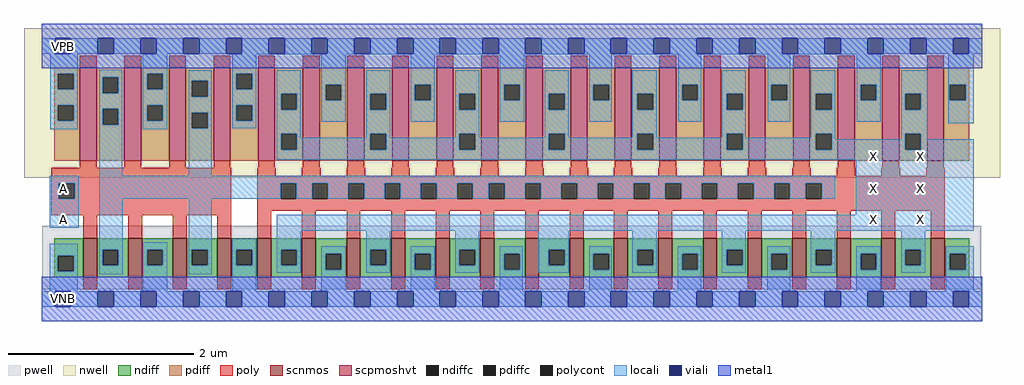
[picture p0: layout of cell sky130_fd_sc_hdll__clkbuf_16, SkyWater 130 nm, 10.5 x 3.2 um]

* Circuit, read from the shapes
.subckt sky130_fd_sc_hdll__clkbuf_16 A VGND VNB VPB VPWR X
XM1 n1 A VGND VNB sky130_fd_pr__nfet_01v8 w=0.42 l=0.15 m=4
XM2 X n1 VGND VNB sky130_fd_pr__nfet_01v8 w=0.42 l=0.15 m=16
XM3 n1 A VPWR VPB sky130_fd_pr__pfet_01v8_hvt w=1 l=0.18 m=4
XM4 X n1 VPWR VPB sky130_fd_pr__pfet_01v8_hvt w=1 l=0.18 m=16
.ends

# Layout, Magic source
magic
tech sky130A
magscale 1 2
<< nwell >>
rect -38 261 2062 582
<< pwell >>
rect 1 21 2022 157
rect 29 -17 63 21
<< scnmos >>
rect 90 47 120 131
rect 186 47 216 131
rect 282 47 312 131
rect 378 47 408 131
rect 464 47 494 131
rect 560 47 590 131
rect 656 47 686 131
rect 752 47 782 131
rect 848 47 878 131
rect 944 47 974 131
rect 1040 47 1070 131
rect 1136 47 1166 131
rect 1231 47 1261 131
rect 1327 47 1357 131
rect 1423 47 1453 131
rect 1519 47 1549 131
rect 1615 47 1645 131
rect 1711 47 1741 131
rect 1807 47 1837 131
rect 1913 47 1943 131
<< scpmoshvt >>
rect 82 297 118 497
rect 178 297 214 497
rect 274 297 310 497
rect 370 297 406 497
rect 466 297 502 497
rect 562 297 598 497
rect 658 297 694 497
rect 754 297 790 497
rect 850 297 886 497
rect 946 297 982 497
rect 1042 297 1078 497
rect 1138 297 1174 497
rect 1233 297 1269 497
rect 1329 297 1365 497
rect 1425 297 1461 497
rect 1521 297 1557 497
rect 1617 297 1653 497
rect 1713 297 1749 497
rect 1809 297 1845 497
rect 1905 297 1941 497
<< ndiff >>
rect 27 93 90 131
rect 27 59 35 93
rect 69 59 90 93
rect 27 47 90 59
rect 120 106 186 131
rect 120 72 131 106
rect 165 72 186 106
rect 120 47 186 72
rect 216 106 282 131
rect 216 72 227 106
rect 261 72 282 106
rect 216 47 282 72
rect 312 106 378 131
rect 312 72 323 106
rect 357 72 378 106
rect 312 47 378 72
rect 408 106 464 131
rect 408 72 419 106
rect 453 72 464 106
rect 408 47 464 72
rect 494 106 560 131
rect 494 72 515 106
rect 549 72 560 106
rect 494 47 560 72
rect 590 97 656 131
rect 590 63 611 97
rect 645 63 656 97
rect 590 47 656 63
rect 686 106 752 131
rect 686 72 707 106
rect 741 72 752 106
rect 686 47 752 72
rect 782 97 848 131
rect 782 63 803 97
rect 837 63 848 97
rect 782 47 848 63
rect 878 106 944 131
rect 878 72 899 106
rect 933 72 944 106
rect 878 47 944 72
rect 974 97 1040 131
rect 974 63 995 97
rect 1029 63 1040 97
rect 974 47 1040 63
rect 1070 106 1136 131
rect 1070 72 1091 106
rect 1125 72 1136 106
rect 1070 47 1136 72
rect 1166 97 1231 131
rect 1166 63 1187 97
rect 1221 63 1231 97
rect 1166 47 1231 63
rect 1261 106 1327 131
rect 1261 72 1282 106
rect 1316 72 1327 106
rect 1261 47 1327 72
rect 1357 97 1423 131
rect 1357 63 1378 97
rect 1412 63 1423 97
rect 1357 47 1423 63
rect 1453 106 1519 131
rect 1453 72 1474 106
rect 1508 72 1519 106
rect 1453 47 1519 72
rect 1549 97 1615 131
rect 1549 63 1570 97
rect 1604 63 1615 97
rect 1549 47 1615 63
rect 1645 106 1711 131
rect 1645 72 1666 106
rect 1700 72 1711 106
rect 1645 47 1711 72
rect 1741 97 1807 131
rect 1741 63 1762 97
rect 1796 63 1807 97
rect 1741 47 1807 63
rect 1837 106 1913 131
rect 1837 72 1858 106
rect 1892 72 1913 106
rect 1837 47 1913 72
rect 1943 97 1996 131
rect 1943 63 1954 97
rect 1988 63 1996 97
rect 1943 47 1996 63
<< pdiff >>
rect 27 485 82 497
rect 27 451 35 485
rect 69 451 82 485
rect 27 417 82 451
rect 27 383 35 417
rect 69 383 82 417
rect 27 297 82 383
rect 118 477 178 497
rect 118 443 131 477
rect 165 443 178 477
rect 118 409 178 443
rect 118 375 131 409
rect 165 375 178 409
rect 118 297 178 375
rect 214 485 274 497
rect 214 451 227 485
rect 261 451 274 485
rect 214 417 274 451
rect 214 383 227 417
rect 261 383 274 417
rect 214 297 274 383
rect 310 469 370 497
rect 310 435 323 469
rect 357 435 370 469
rect 310 401 370 435
rect 310 367 323 401
rect 357 367 370 401
rect 310 297 370 367
rect 406 485 466 497
rect 406 451 419 485
rect 453 451 466 485
rect 406 417 466 451
rect 406 383 419 417
rect 453 383 466 417
rect 406 297 466 383
rect 502 441 562 497
rect 502 407 515 441
rect 549 407 562 441
rect 502 355 562 407
rect 502 321 515 355
rect 549 321 562 355
rect 502 297 562 321
rect 598 461 658 497
rect 598 427 611 461
rect 645 427 658 461
rect 598 297 658 427
rect 694 441 754 497
rect 694 407 707 441
rect 741 407 754 441
rect 694 355 754 407
rect 694 321 707 355
rect 741 321 754 355
rect 694 297 754 321
rect 790 461 850 497
rect 790 427 803 461
rect 837 427 850 461
rect 790 297 850 427
rect 886 441 946 497
rect 886 407 899 441
rect 933 407 946 441
rect 886 355 946 407
rect 886 321 899 355
rect 933 321 946 355
rect 886 297 946 321
rect 982 461 1042 497
rect 982 427 995 461
rect 1029 427 1042 461
rect 982 297 1042 427
rect 1078 441 1138 497
rect 1078 407 1091 441
rect 1125 407 1138 441
rect 1078 355 1138 407
rect 1078 321 1091 355
rect 1125 321 1138 355
rect 1078 297 1138 321
rect 1174 461 1233 497
rect 1174 427 1187 461
rect 1221 427 1233 461
rect 1174 297 1233 427
rect 1269 441 1329 497
rect 1269 407 1282 441
rect 1316 407 1329 441
rect 1269 355 1329 407
rect 1269 321 1282 355
rect 1316 321 1329 355
rect 1269 297 1329 321
rect 1365 461 1425 497
rect 1365 427 1378 461
rect 1412 427 1425 461
rect 1365 297 1425 427
rect 1461 441 1521 497
rect 1461 407 1474 441
rect 1508 407 1521 441
rect 1461 355 1521 407
rect 1461 321 1474 355
rect 1508 321 1521 355
rect 1461 297 1521 321
rect 1557 461 1617 497
rect 1557 427 1570 461
rect 1604 427 1617 461
rect 1557 297 1617 427
rect 1653 441 1713 497
rect 1653 407 1666 441
rect 1700 407 1713 441
rect 1653 355 1713 407
rect 1653 321 1666 355
rect 1700 321 1713 355
rect 1653 297 1713 321
rect 1749 461 1809 497
rect 1749 427 1762 461
rect 1796 427 1809 461
rect 1749 297 1809 427
rect 1845 441 1905 497
rect 1845 407 1858 441
rect 1892 407 1905 441
rect 1845 355 1905 407
rect 1845 321 1858 355
rect 1892 321 1905 355
rect 1845 297 1905 321
rect 1941 461 1996 497
rect 1941 427 1954 461
rect 1988 427 1996 461
rect 1941 297 1996 427
<< ndiffc >>
rect 35 59 69 93
rect 131 72 165 106
rect 227 72 261 106
rect 323 72 357 106
rect 419 72 453 106
rect 515 72 549 106
rect 611 63 645 97
rect 707 72 741 106
rect 803 63 837 97
rect 899 72 933 106
rect 995 63 1029 97
rect 1091 72 1125 106
rect 1187 63 1221 97
rect 1282 72 1316 106
rect 1378 63 1412 97
rect 1474 72 1508 106
rect 1570 63 1604 97
rect 1666 72 1700 106
rect 1762 63 1796 97
rect 1858 72 1892 106
rect 1954 63 1988 97
<< pdiffc >>
rect 35 451 69 485
rect 35 383 69 417
rect 131 443 165 477
rect 131 375 165 409
rect 227 451 261 485
rect 227 383 261 417
rect 323 435 357 469
rect 323 367 357 401
rect 419 451 453 485
rect 419 383 453 417
rect 515 407 549 441
rect 515 321 549 355
rect 611 427 645 461
rect 707 407 741 441
rect 707 321 741 355
rect 803 427 837 461
rect 899 407 933 441
rect 899 321 933 355
rect 995 427 1029 461
rect 1091 407 1125 441
rect 1091 321 1125 355
rect 1187 427 1221 461
rect 1282 407 1316 441
rect 1282 321 1316 355
rect 1378 427 1412 461
rect 1474 407 1508 441
rect 1474 321 1508 355
rect 1570 427 1604 461
rect 1666 407 1700 441
rect 1666 321 1700 355
rect 1762 427 1796 461
rect 1858 407 1892 441
rect 1858 321 1892 355
rect 1954 427 1988 461
<< poly >>
rect 82 497 118 523
rect 178 497 214 523
rect 274 497 310 523
rect 370 497 406 523
rect 466 497 502 523
rect 562 497 598 523
rect 658 497 694 523
rect 754 497 790 523
rect 850 497 886 523
rect 946 497 982 523
rect 1042 497 1078 523
rect 1138 497 1174 523
rect 1233 497 1269 523
rect 1329 497 1365 523
rect 1425 497 1461 523
rect 1521 497 1557 523
rect 1617 497 1653 523
rect 1713 497 1749 523
rect 1809 497 1845 523
rect 1905 497 1941 523
rect 82 282 118 297
rect 178 282 214 297
rect 274 282 310 297
rect 370 282 406 297
rect 466 282 502 297
rect 562 282 598 297
rect 658 282 694 297
rect 754 282 790 297
rect 850 282 886 297
rect 946 282 982 297
rect 1042 282 1078 297
rect 1138 282 1174 297
rect 1233 282 1269 297
rect 1329 282 1365 297
rect 1425 282 1461 297
rect 1521 282 1557 297
rect 1617 282 1653 297
rect 1713 282 1749 297
rect 1809 282 1845 297
rect 1905 282 1941 297
rect 21 249 408 282
rect 21 215 37 249
rect 71 215 408 249
rect 21 180 408 215
rect 90 131 120 180
rect 186 131 216 180
rect 282 131 312 180
rect 378 131 408 180
rect 464 265 504 282
rect 560 265 600 282
rect 656 265 696 282
rect 752 265 792 282
rect 848 265 888 282
rect 944 265 984 282
rect 1040 265 1080 282
rect 1136 265 1176 282
rect 1231 265 1271 282
rect 1327 265 1367 282
rect 1423 265 1463 282
rect 1519 265 1559 282
rect 1615 265 1655 282
rect 1711 265 1751 282
rect 1807 265 1847 282
rect 1903 265 1943 282
rect 464 249 1943 265
rect 464 215 514 249
rect 548 215 582 249
rect 616 215 660 249
rect 694 215 738 249
rect 772 215 816 249
rect 850 215 894 249
rect 928 215 962 249
rect 996 215 1040 249
rect 1074 215 1118 249
rect 1152 215 1196 249
rect 1230 215 1274 249
rect 1308 215 1342 249
rect 1376 215 1420 249
rect 1454 215 1498 249
rect 1532 215 1576 249
rect 1610 215 1644 249
rect 1678 215 1943 249
rect 464 190 1943 215
rect 464 131 494 190
rect 560 131 590 190
rect 656 131 686 190
rect 752 131 782 190
rect 848 131 878 190
rect 944 131 974 190
rect 1040 131 1070 190
rect 1136 131 1166 190
rect 1231 131 1261 190
rect 1327 131 1357 190
rect 1423 131 1453 190
rect 1519 131 1549 190
rect 1615 131 1645 190
rect 1711 131 1741 190
rect 1807 131 1837 190
rect 1913 131 1943 190
rect 90 21 120 47
rect 186 21 216 47
rect 282 21 312 47
rect 378 21 408 47
rect 464 21 494 47
rect 560 21 590 47
rect 656 21 686 47
rect 752 21 782 47
rect 848 21 878 47
rect 944 21 974 47
rect 1040 21 1070 47
rect 1136 21 1166 47
rect 1231 21 1261 47
rect 1327 21 1357 47
rect 1423 21 1453 47
rect 1519 21 1549 47
rect 1615 21 1645 47
rect 1711 21 1741 47
rect 1807 21 1837 47
rect 1913 21 1943 47
<< polycont >>
rect 37 215 71 249
rect 514 215 548 249
rect 582 215 616 249
rect 660 215 694 249
rect 738 215 772 249
rect 816 215 850 249
rect 894 215 928 249
rect 962 215 996 249
rect 1040 215 1074 249
rect 1118 215 1152 249
rect 1196 215 1230 249
rect 1274 215 1308 249
rect 1342 215 1376 249
rect 1420 215 1454 249
rect 1498 215 1532 249
rect 1576 215 1610 249
rect 1644 215 1678 249
<< locali >>
rect 0 527 29 561
rect 63 527 121 561
rect 155 527 213 561
rect 247 527 305 561
rect 339 527 397 561
rect 431 527 489 561
rect 523 527 581 561
rect 615 527 673 561
rect 707 527 765 561
rect 799 527 857 561
rect 891 527 949 561
rect 983 527 1041 561
rect 1075 527 1133 561
rect 1167 527 1225 561
rect 1259 527 1317 561
rect 1351 527 1409 561
rect 1443 527 1501 561
rect 1535 527 1593 561
rect 1627 527 1685 561
rect 1719 527 1777 561
rect 1811 527 1869 561
rect 1903 527 1961 561
rect 1995 527 2024 561
rect 19 485 78 527
rect 19 451 35 485
rect 69 451 78 485
rect 19 417 78 451
rect 19 383 35 417
rect 69 383 78 417
rect 19 365 78 383
rect 124 477 173 493
rect 124 443 131 477
rect 165 443 173 477
rect 124 409 173 443
rect 124 375 131 409
rect 165 375 173 409
rect 124 265 173 375
rect 218 485 270 527
rect 410 526 1805 527
rect 218 451 227 485
rect 261 451 270 485
rect 218 417 270 451
rect 218 383 227 417
rect 261 383 270 417
rect 218 365 270 383
rect 316 469 366 492
rect 316 435 323 469
rect 357 435 366 469
rect 316 401 366 435
rect 316 367 323 401
rect 357 367 366 401
rect 410 485 462 526
rect 410 451 419 485
rect 453 451 462 485
rect 410 417 462 451
rect 410 383 419 417
rect 453 383 462 417
rect 410 367 462 383
rect 506 441 558 492
rect 506 407 515 441
rect 549 407 558 441
rect 316 265 366 367
rect 506 355 558 407
rect 602 461 654 526
rect 602 427 611 461
rect 645 427 654 461
rect 602 381 654 427
rect 698 441 750 492
rect 698 407 707 441
rect 741 407 750 441
rect 506 321 515 355
rect 549 347 558 355
rect 698 355 750 407
rect 794 461 846 526
rect 794 427 803 461
rect 837 427 846 461
rect 794 381 846 427
rect 890 441 942 492
rect 890 407 899 441
rect 933 407 942 441
rect 698 347 707 355
rect 549 321 707 347
rect 741 347 750 355
rect 890 355 942 407
rect 986 461 1038 526
rect 986 427 995 461
rect 1029 427 1038 461
rect 986 381 1038 427
rect 1082 441 1134 492
rect 1082 407 1091 441
rect 1125 407 1134 441
rect 890 347 899 355
rect 741 321 899 347
rect 933 347 942 355
rect 1082 355 1134 407
rect 1178 461 1227 526
rect 1178 427 1187 461
rect 1221 427 1227 461
rect 1178 381 1227 427
rect 1271 441 1323 492
rect 1271 407 1282 441
rect 1316 407 1323 441
rect 1082 347 1091 355
rect 933 321 1091 347
rect 1125 347 1134 355
rect 1271 355 1323 407
rect 1370 461 1419 526
rect 1370 427 1378 461
rect 1412 427 1419 461
rect 1370 381 1419 427
rect 1463 441 1515 492
rect 1463 407 1474 441
rect 1508 407 1515 441
rect 1271 347 1282 355
rect 1125 321 1282 347
rect 1316 347 1323 355
rect 1463 355 1515 407
rect 1562 461 1611 526
rect 1562 427 1570 461
rect 1604 427 1611 461
rect 1562 381 1611 427
rect 1655 441 1707 492
rect 1655 407 1666 441
rect 1700 407 1707 441
rect 1463 347 1474 355
rect 1316 321 1474 347
rect 1508 347 1515 355
rect 1655 355 1707 407
rect 1754 461 1805 526
rect 1754 427 1762 461
rect 1796 427 1805 461
rect 1754 381 1805 427
rect 1849 441 1907 492
rect 1849 407 1858 441
rect 1892 407 1907 441
rect 1655 347 1666 355
rect 1508 321 1666 347
rect 1700 344 1707 355
rect 1849 355 1907 407
rect 1951 461 2005 527
rect 1951 427 1954 461
rect 1988 427 2005 461
rect 1951 378 2005 427
rect 1849 344 1858 355
rect 1700 321 1858 344
rect 1892 344 1907 355
rect 1892 321 2005 344
rect 506 299 2005 321
rect 17 249 80 265
rect 17 215 37 249
rect 71 215 80 249
rect 17 153 80 215
rect 124 249 1708 265
rect 124 215 514 249
rect 548 215 582 249
rect 616 215 660 249
rect 694 215 738 249
rect 772 215 816 249
rect 850 215 894 249
rect 928 215 962 249
rect 996 215 1040 249
rect 1074 215 1118 249
rect 1152 215 1196 249
rect 1230 215 1274 249
rect 1308 215 1342 249
rect 1376 215 1420 249
rect 1454 215 1498 249
rect 1532 215 1576 249
rect 1610 215 1644 249
rect 1678 215 1708 249
rect 17 93 78 119
rect 17 59 35 93
rect 69 59 78 93
rect 17 17 78 59
rect 124 106 174 215
rect 124 72 131 106
rect 165 72 174 106
rect 124 53 174 72
rect 218 106 270 122
rect 218 72 227 106
rect 261 72 270 106
rect 218 17 270 72
rect 316 106 366 215
rect 1752 181 2005 299
rect 506 147 2005 181
rect 316 72 323 106
rect 357 72 366 106
rect 316 53 366 72
rect 410 106 462 129
rect 410 72 419 106
rect 453 72 462 106
rect 410 17 462 72
rect 506 106 558 147
rect 506 72 515 106
rect 549 72 558 106
rect 506 56 558 72
rect 602 97 654 113
rect 602 63 611 97
rect 645 63 654 97
rect 602 17 654 63
rect 698 106 750 147
rect 698 72 707 106
rect 741 72 750 106
rect 698 56 750 72
rect 794 97 846 113
rect 794 63 803 97
rect 837 63 846 97
rect 794 17 846 63
rect 890 106 942 147
rect 890 72 899 106
rect 933 72 942 106
rect 890 56 942 72
rect 986 97 1035 113
rect 986 63 995 97
rect 1029 63 1035 97
rect 986 17 1035 63
rect 1069 106 1134 147
rect 1069 72 1091 106
rect 1125 72 1134 106
rect 1069 56 1134 72
rect 1178 97 1227 113
rect 1178 63 1187 97
rect 1221 63 1227 97
rect 1178 17 1227 63
rect 1271 106 1323 147
rect 1271 72 1282 106
rect 1316 72 1323 106
rect 1271 56 1323 72
rect 1369 97 1419 113
rect 1369 63 1378 97
rect 1412 63 1419 97
rect 1369 17 1419 63
rect 1463 106 1515 147
rect 1463 72 1474 106
rect 1508 72 1515 106
rect 1463 56 1515 72
rect 1561 97 1611 113
rect 1561 63 1570 97
rect 1604 63 1611 97
rect 1561 17 1611 63
rect 1655 106 1707 147
rect 1655 72 1666 106
rect 1700 72 1707 106
rect 1655 56 1707 72
rect 1753 97 1805 113
rect 1753 63 1762 97
rect 1796 63 1805 97
rect 1753 17 1805 63
rect 1849 106 1901 147
rect 1849 72 1858 106
rect 1892 72 1901 106
rect 1849 56 1901 72
rect 1945 97 2005 113
rect 1945 63 1954 97
rect 1988 63 2005 97
rect 1945 17 2005 63
rect 0 -17 29 17
rect 63 -17 121 17
rect 155 -17 213 17
rect 247 -17 305 17
rect 339 -17 397 17
rect 431 -17 489 17
rect 523 -17 581 17
rect 615 -17 673 17
rect 707 -17 765 17
rect 799 -17 857 17
rect 891 -17 949 17
rect 983 -17 1041 17
rect 1075 -17 1133 17
rect 1167 -17 1225 17
rect 1259 -17 1317 17
rect 1351 -17 1409 17
rect 1443 -17 1501 17
rect 1535 -17 1593 17
rect 1627 -17 1685 17
rect 1719 -17 1777 17
rect 1811 -17 1869 17
rect 1903 -17 1961 17
rect 1995 -17 2024 17
<< viali >>
rect 29 527 63 561
rect 121 527 155 561
rect 213 527 247 561
rect 305 527 339 561
rect 397 527 431 561
rect 489 527 523 561
rect 581 527 615 561
rect 673 527 707 561
rect 765 527 799 561
rect 857 527 891 561
rect 949 527 983 561
rect 1041 527 1075 561
rect 1133 527 1167 561
rect 1225 527 1259 561
rect 1317 527 1351 561
rect 1409 527 1443 561
rect 1501 527 1535 561
rect 1593 527 1627 561
rect 1685 527 1719 561
rect 1777 527 1811 561
rect 1869 527 1903 561
rect 1961 527 1995 561
rect 29 -17 63 17
rect 121 -17 155 17
rect 213 -17 247 17
rect 305 -17 339 17
rect 397 -17 431 17
rect 489 -17 523 17
rect 581 -17 615 17
rect 673 -17 707 17
rect 765 -17 799 17
rect 857 -17 891 17
rect 949 -17 983 17
rect 1041 -17 1075 17
rect 1133 -17 1167 17
rect 1225 -17 1259 17
rect 1317 -17 1351 17
rect 1409 -17 1443 17
rect 1501 -17 1535 17
rect 1593 -17 1627 17
rect 1685 -17 1719 17
rect 1777 -17 1811 17
rect 1869 -17 1903 17
rect 1961 -17 1995 17
<< metal1 >>
rect 0 561 2024 592
rect 0 527 29 561
rect 63 527 121 561
rect 155 527 213 561
rect 247 527 305 561
rect 339 527 397 561
rect 431 527 489 561
rect 523 527 581 561
rect 615 527 673 561
rect 707 527 765 561
rect 799 527 857 561
rect 891 527 949 561
rect 983 527 1041 561
rect 1075 527 1133 561
rect 1167 527 1225 561
rect 1259 527 1317 561
rect 1351 527 1409 561
rect 1443 527 1501 561
rect 1535 527 1593 561
rect 1627 527 1685 561
rect 1719 527 1777 561
rect 1811 527 1869 561
rect 1903 527 1961 561
rect 1995 527 2024 561
rect 0 496 2024 527
rect 0 17 2024 48
rect 0 -17 29 17
rect 63 -17 121 17
rect 155 -17 213 17
rect 247 -17 305 17
rect 339 -17 397 17
rect 431 -17 489 17
rect 523 -17 581 17
rect 615 -17 673 17
rect 707 -17 765 17
rect 799 -17 857 17
rect 891 -17 949 17
rect 983 -17 1041 17
rect 1075 -17 1133 17
rect 1167 -17 1225 17
rect 1259 -17 1317 17
rect 1351 -17 1409 17
rect 1443 -17 1501 17
rect 1535 -17 1593 17
rect 1627 -17 1685 17
rect 1719 -17 1777 17
rect 1811 -17 1869 17
rect 1903 -17 1961 17
rect 1995 -17 2024 17
rect 0 -48 2024 -17
<< labels >>
flabel locali s 1773 289 1807 323 0 FreeSans 200 0 0 0 X
port 6 nsew signal output
flabel locali s 1875 289 1909 323 0 FreeSans 200 0 0 0 X
port 6 nsew signal output
flabel locali s 1875 221 1909 255 0 FreeSans 200 0 0 0 X
port 6 nsew signal output
flabel locali s 1773 221 1807 255 0 FreeSans 200 0 0 0 X
port 6 nsew signal output
flabel locali s 1773 153 1807 187 0 FreeSans 200 0 0 0 X
port 6 nsew signal output
flabel locali s 1875 153 1909 187 0 FreeSans 200 0 0 0 X
port 6 nsew signal output
flabel locali s 29 153 63 187 0 FreeSans 200 0 0 0 A
port 1 nsew signal input
flabel locali s 29 221 63 255 0 FreeSans 200 0 0 0 A
port 1 nsew signal input
flabel pwell s 29 -17 63 17 0 FreeSans 200 0 0 0 VNB
port 3 nsew ground bidirectional
flabel pwell s 46 0 46 0 0 FreeSans 200 0 0 0 VNB
port 3 nsew
flabel nwell s 29 527 63 561 0 FreeSans 200 0 0 0 VPB
port 4 nsew power bidirectional
flabel nwell s 46 544 46 544 0 FreeSans 200 0 0 0 VPB
port 4 nsew
flabel metal1 s 29 -17 63 17 0 FreeSans 200 0 0 0 VGND
port 2 nsew ground bidirectional
flabel metal1 s 29 527 63 561 0 FreeSans 200 0 0 0 VPWR
port 5 nsew power bidirectional
rlabel comment s 0 0 0 0 4 clkbuf_16
<< properties >>
string LEFsite unithd
string LEFclass CORE
string FIXED_BBOX 0 0 2024 544
string GDS_FILE $PDKPATH/libs.ref/sky130_fd_sc_hdll/gds/sky130_fd_sc_hdll.gds
string LEFsymmetry X Y R90
string GDS_END 890192
string GDS_START 876736
string LEFproperties maskLayoutSubType "abstract" prCellType "standard" originalViewName "layout"
<< end >>
